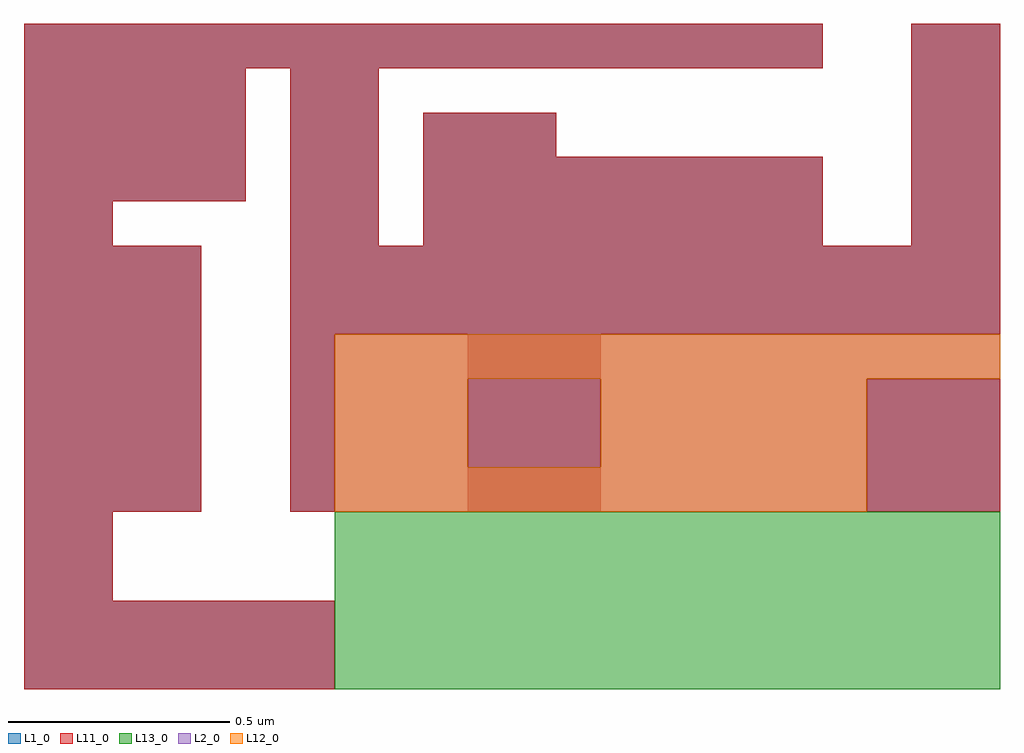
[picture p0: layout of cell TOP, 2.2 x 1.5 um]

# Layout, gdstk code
from math import pi, radians
import gdstk
lib = gdstk.Library(unit=1e-6, precision=2.5e-10)
def R(c, l, rs):  # rectangles x0, y0, x1, y1
    for r in rs: c.add(gdstk.rectangle(r[:2], r[2:], *l))
def P(c, l, *ps):  # polygons
    for p in ps: c.add(gdstk.Polygon(p, *l))
L1_0 = (1, 0)
L2_0 = (2, 0)
L11_0 = (11, 0)
L12_0 = (12, 0)
L13_0 = (13, 0)

c_a = lib.new_cell('A')
P(c_a, L1_0, [(0,0),(0,1.5),(0.7,1.5),(0.7,0.4),(0.6,0.4),(0.6,1.4),(0.2,1.4),(0.2,1),(0.4,1),(0.4,0.4),(0.2,0.4),(0.2,0.2),(0.7,0.2),(0.7,0)])

c_cc = lib.new_cell('CC')
R(c_cc, L1_0, [(0,0,0.3,0.3)])

c_b = lib.new_cell('B')
R(c_b, L2_0, [(0,0,0.3,0.4), (0.3,0.3,0.6,0.4)])
c_b.add(gdstk.Reference(c_cc, (0.3,0)))

a_1 = lib.new_cell('A$1')
P(a_1, L11_0, [(0,0),(0,1.5),(0.7,1.5),(0.7,0.4),(0.6,0.4),(0.6,1.4),(0.2,1.4),(0.2,1),(0.4,1),(0.4,0.4),(0.2,0.4),(0.2,0.2),(0.7,0.2),(0.7,0)])

c_c = lib.new_cell('C')
R(c_c, L11_0, [(0,0,0.3,0.3)])

b_1 = lib.new_cell('B$1')
R(b_1, L12_0, [(0,0,0.3,0.4), (0.3,0.3,0.6,0.4)])
b_1.add(gdstk.Reference(c_c, (0.3,0)))

top = lib.new_cell('TOP')
R(top, L13_0, [(0.7,0,2.2,0.4)])
top.add(gdstk.Reference(c_a, (0,0)))
top.add(gdstk.Reference(c_a, (2.2,0.8), rotation=pi/2))
top.add(gdstk.Reference(c_b, (0.7,0.4)))
top.add(gdstk.Reference(c_b, (1.6,0.8), rotation=pi))
top.add(gdstk.Reference(c_b, (1.6,0.4)))
top.add(gdstk.Reference(c_cc, (0.2,1.1)))
top.add(gdstk.Reference(c_cc, (0.9,1)))
top.add(gdstk.Reference(a_1, (0,0)))
top.add(gdstk.Reference(a_1, (2.2,0.8), rotation=pi/2))
top.add(gdstk.Reference(b_1, (0.7,0.4)))
top.add(gdstk.Reference(b_1, (1.6,0.8), rotation=pi))
top.add(gdstk.Reference(b_1, (1.6,0.4)))
top.add(gdstk.Reference(c_c, (0.2,1.1)))
top.add(gdstk.Reference(c_c, (0.9,1)))

lib.write_gds('TOP.gds')
